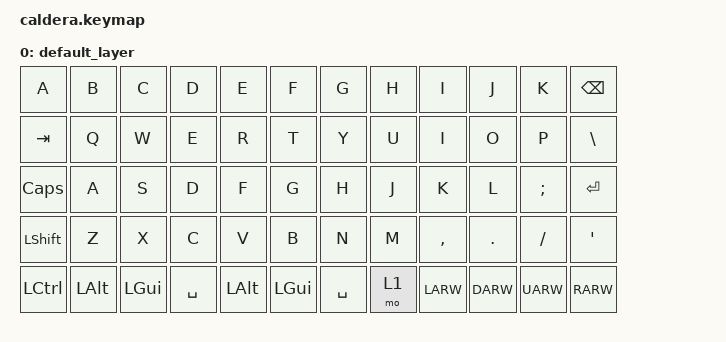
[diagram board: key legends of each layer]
#include <behaviors.dtsi>
#include <dt-bindings/zmk/keys.h>

/ {
    keymap {
        compatible = "zmk,keymap";

        default_layer {
            // ---------------------------------------------------------------------------------
            // |   `  |  1  |  2  |  3  |  4  |  5  |     |  6  |  7  |  8  |  9  |  0  | BKSP |
            // |  TAB |  Q  |  W  |  E  |  R  |  T  |     |  Y  |  U  |  I  |  O  |  P  |  \   |
            // | CAPS |  A  |  S  |  D  |  F  |  G  |     |  H  |  J  |  K  |  L  |  ;  |  ENT |
            // | SHFT |  Z  |  X  |  C  |  V  |  B  |     |  N  |  M  |  ,  |  .  |  /  | APOS |
            // | CTRL | ALT | GUI | SPC | SPC | SPC |     | SPC | LOW |LARW |DARW |UARW | RARW |

            bindings = <
&kp A      &kp B     &kp C     &kp D      &kp E     &kp F       &kp G      &kp H  &kp I      &kp J     &kp K     &kp BSPC
&kp TAB    &kp Q     &kp W     &kp E      &kp R     &kp T       &kp Y      &kp U  &kp I      &kp O     &kp P     &kp BSLH
&kp CAPS   &kp A     &kp S     &kp D      &kp F     &kp G       &kp H      &kp J  &kp K      &kp L     &kp SEMI  &kp RET
&kp LSHFT  &kp Z     &kp X     &kp C      &kp V     &kp B       &kp N      &kp M  &kp COMMA  &kp DOT   &kp FSLH  &kp APOS
&kp LCTRL  &kp LALT  &kp LGUI  &kp SPACE  &kp LALT  &kp LGUI    &kp SPACE  &mo 1  &kp LARW   &kp DARW  &kp UARW  &kp RARW
            >;
        };
    };
};
